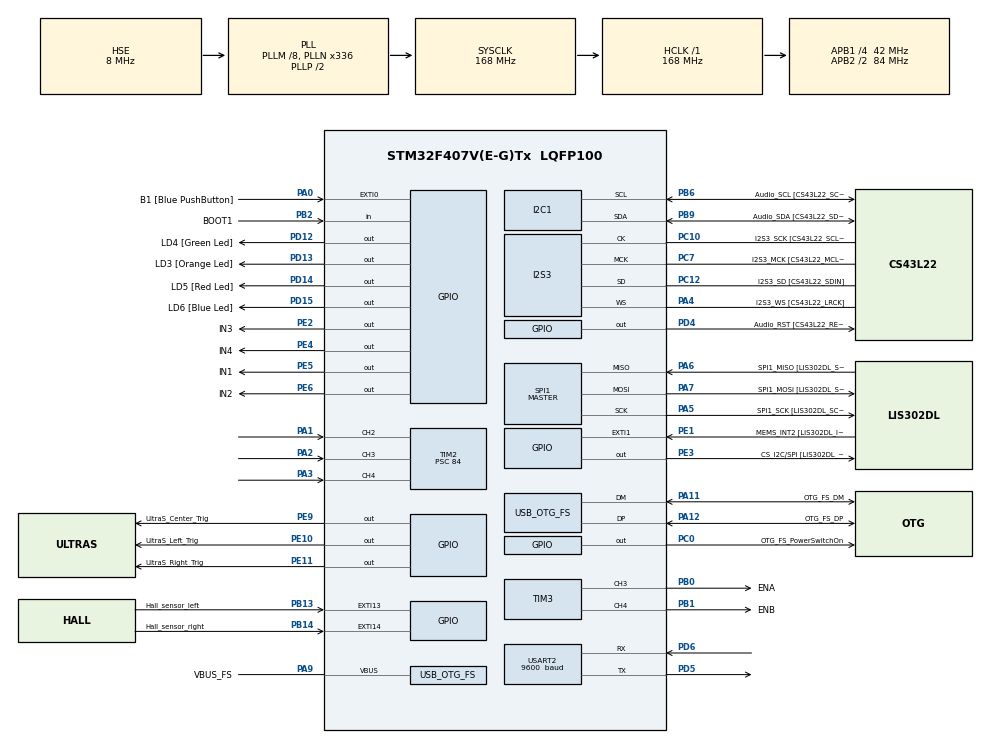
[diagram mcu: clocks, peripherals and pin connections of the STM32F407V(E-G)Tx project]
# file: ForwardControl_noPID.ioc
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I2S3.AudioFreq-Half_Duplex_Master=I2S_AUDIOFREQ_96K
I2S3.ErrorAudioFreq=-2.34 %
I2S3.ErrorAudioFreq-Half_Duplex_Master=0.8 %
I2S3.FullDuplexMode=I2S_FULLDUPLEXMODE_DISABLE
I2S3.Instance=SPI$Index
I2S3.RealAudioFreq=93.75 KHz
I2S3.RealAudioFreq-Half_Duplex_Master=96.774 KHz
I2S3.VirtualMode=I2S_MODE_MASTER
Mcu.Family=STM32F4
Mcu.Name=STM32F407V(E-G)Tx
Mcu.Package=LQFP100
NVIC.OTG_FS_IRQn=true\:0\:0\:false\:false\:true\:true\:true\:true
NVIC.PriorityGroup=NVIC_PRIORITYGROUP_0
NVIC.TIM2_IRQn=true\:0\:0\:false\:false\:true\:true\:true\:true
NVIC.USART2_IRQn=true\:0\:0\:false\:false\:true\:true\:true\:true
PA0-WKUP.GPIO_Label=B1 [Blue PushButton]
PA0-WKUP.GPIO_ModeDefaultEXTI=GPIO_MODE_EVT_RISING
PA0-WKUP.GPIO_PuPd=GPIO_NOPULL
PA0-WKUP.Signal=GPXTI0
PA1.Signal=S_TIM2_CH2
PA10.GPIO_Label=OTG_FS_ID
PA10.GPIO_Mode=GPIO_MODE_AF_PP
PA10.GPIO_PuPd=GPIO_NOPULL
PA10.GPIO_Speed=GPIO_SPEED_FREQ_LOW
PA10.Signal=USB_OTG_FS_ID
PA11.GPIO_Label=OTG_FS_DM
PA11.GPIO_Mode=GPIO_MODE_AF_PP
PA11.GPIO_PuPd=GPIO_NOPULL
PA11.GPIO_Speed=GPIO_SPEED_FREQ_LOW
PA11.Mode=Host_Only
PA11.Signal=USB_OTG_FS_DM
PA12.GPIO_Label=OTG_FS_DP
PA12.GPIO_Mode=GPIO_MODE_AF_PP
PA12.GPIO_PuPd=GPIO_NOPULL
PA12.GPIO_Speed=GPIO_SPEED_FREQ_LOW
PA12.Mode=Host_Only
PA12.Signal=USB_OTG_FS_DP
PA13.GPIO_Label=SWDIO
PA13.Mode=Serial_Wire
PA13.Signal=SYS_JTMS-SWDIO
PA14.GPIO_Label=SWCLK
PA14.Mode=Serial_Wire
PA14.Signal=SYS_JTCK-SWCLK
PA2.Signal=S_TIM2_CH3
PA3.Signal=S_TIM2_CH4
PA4.GPIO_Label=I2S3_WS [CS43L22_LRCK]
PA4.GPIO_Mode=GPIO_MODE_AF_PP
PA4.GPIO_PuPd=GPIO_NOPULL
PA4.GPIO_Speed=GPIO_SPEED_FREQ_LOW
PA4.Mode=Half_Duplex_Master
PA4.Signal=I2S3_WS
PA5.GPIO_Label=SPI1_SCK [LIS302DL_SCL/SPC]
PA5.GPIO_Mode=GPIO_MODE_AF_PP
PA5.GPIO_PuPd=GPIO_NOPULL
PA5.GPIO_Speed=GPIO_SPEED_FREQ_LOW
PA5.Mode=Full_Duplex_Master
PA5.Signal=SPI1_SCK
PA6.GPIO_Label=SPI1_MISO [LIS302DL_SDO]
PA6.GPIO_Mode=GPIO_MODE_AF_PP
PA6.GPIO_PuPd=GPIO_NOPULL
PA6.GPIO_Speed=GPIO_SPEED_FREQ_LOW
PA6.Mode=Full_Duplex_Master
PA6.Signal=SPI1_MISO
PA7.GPIO_Label=SPI1_MOSI [LIS302DL_SDA/SDI/SDO]
PA7.GPIO_Mode=GPIO_MODE_AF_PP
PA7.GPIO_PuPd=GPIO_NOPULL
PA7.GPIO_Speed=GPIO_SPEED_FREQ_LOW
PA7.Mode=Full_Duplex_Master
PA7.Signal=SPI1_MOSI
PA9.GPIO_Label=VBUS_FS
PA9.GPIO_Mode=GPIO_MODE_INPUT
PA9.GPIO_PuPd=GPIO_NOPULL
PA9.Mode=Activate_VBUS
PA9.Signal=USB_OTG_FS_VBUS
PB0.GPIO_Label=ENA
PB0.Signal=S_TIM3_CH3
PB1.GPIO_Label=ENB
PB1.Signal=S_TIM3_CH4
PB10.GPIO_Label=CLK_IN [MP45DT02_CLK]
PB10.GPIO_Mode=GPIO_MODE_AF_PP
PB10.GPIO_PuPd=GPIO_NOPULL
PB10.GPIO_Speed=GPIO_SPEED_FREQ_LOW
PB10.Signal=I2S2_CK
PB13.GPIO_Label=Hall_sensor_left
PB13.GPIO_PuPd=GPIO_PULLUP
PB13.Signal=GPXTI13
PB14.GPIO_Label=Hall_sensor_right
PB14.GPIO_PuPd=GPIO_PULLUP
PB14.Signal=GPXTI14
PB2.GPIO_Label=BOOT1
PB2.GPIO_Mode=GPIO_MODE_INPUT
PB2.GPIO_PuPd=GPIO_NOPULL
PB2.Signal=GPIO_Input
PB3.GPIO_Label=SWO
PB3.Signal=SYS_JTDO-SWO
PB6.GPIO_Label=Audio_SCL [CS43L22_SCL]
PB6.GPIO_Mode=GPIO_MODE_AF_OD
PB6.GPIO_Pu=GPIO_PULLUP
PB6.GPIO_PuPd=GPIO_NOPULL
PB6.GPIO_Speed=GPIO_SPEED_FREQ_LOW
PB6.Mode=I2C
PB6.Signal=I2C1_SCL
PB9.GPIO_Label=Audio_SDA [CS43L22_SDA]
PB9.GPIO_Mode=GPIO_MODE_AF_OD
PB9.GPIO_Pu=GPIO_PULLUP
PB9.GPIO_PuPd=GPIO_NOPULL
PB9.GPIO_Speed=GPIO_SPEED_FREQ_LOW
PB9.Mode=I2C
PB9.Signal=I2C1_SDA
PC0.GPIO_Label=OTG_FS_PowerSwitchOn
PC0.GPIO_PuPd=GPIO_NOPULL
PC0.GPIO_Speed=GPIO_SPEED_FREQ_LOW
PC0.PinState=GPIO_PIN_SET
PC0.Signal=GPIO_Output
PC10.GPIO_Label=I2S3_SCK [CS43L22_SCLK]
PC10.GPIO_Mode=GPIO_MODE_AF_PP
PC10.GPIO_PuPd=GPIO_NOPULL
PC10.GPIO_Speed=GPIO_SPEED_FREQ_LOW
PC10.Mode=Half_Duplex_Master
PC10.Signal=I2S3_CK
PC12.GPIO_Label=I2S3_SD [CS43L22_SDIN]
PC12.GPIO_Mode=GPIO_MODE_AF_PP
PC12.GPIO_PuPd=GPIO_NOPULL
PC12.GPIO_Speed=GPIO_SPEED_FREQ_LOW
PC12.Mode=Half_Duplex_Master
PC12.Signal=I2S3_SD
PC14-OSC32_IN.GPIO_Label=PC14-OSC32_IN
PC14-OSC32_IN.Mode=LSE-External-Oscillator
PC14-OSC32_IN.Signal=RCC_OSC32_IN
PC15-OSC32_OUT.GPIO_Label=PC15-OSC32_OUT
PC15-OSC32_OUT.Mode=LSE-External-Oscillator
PC15-OSC32_OUT.Signal=RCC_OSC32_OUT
PC3.GPIO_Label=PDM_OUT [MP45DT02_DOUT]
PC3.GPIO_Mode=GPIO_MODE_AF_PP
PC3.GPIO_PuPd=GPIO_NOPULL
PC3.GPIO_Speed=GPIO_SPEED_FREQ_LOW
PC3.Signal=I2S2_SD
PC7.GPIO_Label=I2S3_MCK [CS43L22_MCLK]
PC7.GPIO_Mode=GPIO_MODE_AF_PP
PC7.GPIO_PuPd=GPIO_NOPULL
PC7.GPIO_Speed=GPIO_SPEED_FREQ_LOW
PC7.Mode=Master_Clock_Activated
PC7.Signal=I2S3_MCK
PD12.GPIO_Label=LD4 [Green Led]
PD12.GPIO_PuPd=GPIO_NOPULL
PD12.GPIO_Speed=GPIO_SPEED_FREQ_LOW
PD12.Signal=GPIO_Output
PD13.GPIO_Label=LD3 [Orange Led]
PD13.GPIO_PuPd=GPIO_NOPULL
PD13.GPIO_Speed=GPIO_SPEED_FREQ_LOW
PD13.Signal=GPIO_Output
PD14.GPIO_Label=LD5 [Red Led]
PD14.GPIO_PuPd=GPIO_NOPULL
PD14.GPIO_Speed=GPIO_SPEED_FREQ_LOW
PD14.Signal=GPIO_Output
PD15.GPIO_Label=LD6 [Blue Led]
PD15.GPIO_PuPd=GPIO_NOPULL
PD15.GPIO_Speed=GPIO_SPEED_FREQ_LOW
PD15.Signal=GPIO_Output
PD4.GPIO_Label=Audio_RST [CS43L22_RESET]
PD4.GPIO_PuPd=GPIO_NOPULL
PD4.GPIO_Speed=GPIO_SPEED_FREQ_LOW
PD4.Signal=GPIO_Output
PD5.Mode=Asynchronous
PD5.Signal=USART2_TX
PD6.Mode=Asynchronous
PD6.Signal=USART2_RX
PE1.GPIO_Label=MEMS_INT2 [LIS302DL_INT2]
PE1.GPIO_ModeDefaultEXTI=GPIO_MODE_EVT_RISING
PE1.GPIO_PuPd=GPIO_NOPULL
PE1.Signal=GPXTI1
PE10.GPIO_Label=UltraS_Left_Trig
PE10.Signal=GPIO_Output
PE11.GPIO_Label=UltraS_Right_Trig
PE11.Signal=GPIO_Output
PE2.GPIO_Label=IN3
PE2.Signal=GPIO_Output
PE3.GPIO_Label=CS_I2C/SPI [LIS302DL_CS_I2C/SPI]
PE3.GPIO_PuPd=GPIO_NOPULL
PE3.GPIO_Speed=GPIO_SPEED_FREQ_LOW
PE3.Signal=GPIO_Output
PE4.GPIO_Label=IN4
PE4.Signal=GPIO_Output
PE5.GPIO_Label=IN1
PE5.Signal=GPIO_Output
PE6.GPIO_Label=IN2
PE6.Signal=GPIO_Output
PE9.GPIO_Label=UltraS_Center_Trig
PE9.Signal=GPIO_Output
PH0-OSC_IN.GPIO_Label=PH0-OSC_IN
PH0-OSC_IN.Mode=HSE-External-Oscillator
PH0-OSC_IN.Signal=RCC_OSC_IN
PH1-OSC_OUT.GPIO_Label=PH1-OSC_OUT
PH1-OSC_OUT.Mode=HSE-External-Oscillator
PH1-OSC_OUT.Signal=RCC_OSC_OUT
ProjectManager.HeapSize=0x200
ProjectManager.StackSize=0x400
ProjectManager.TargetToolchain=CMake
RCC.48MHZClocksFreq_Value=48000000
RCC.AHBFreq_Value=168000000
RCC.APB1CLKDivider=RCC_HCLK_DIV4
RCC.APB1Freq_Value=42000000
RCC.APB1TimFreq_Value=84000000
RCC.APB2CLKDivider=RCC_HCLK_DIV2
RCC.APB2Freq_Value=84000000
RCC.APB2TimFreq_Value=168000000
RCC.CortexFreq_Value=168000000
RCC.HCLKFreq_Value=168000000
RCC.HSE_VALUE=8000000
RCC.HSI_VALUE=16000000
RCC.PLLM=8
RCC.PLLN=336
RCC.PLLQ=7
RCC.SYSCLKFreq_VALUE=168000000
RCC.SYSCLKSource=RCC_SYSCLKSOURCE_PLLCLK
RCC.VCOOutputFreq_Value=336000000
SH.S_TIM2_CH2.0=TIM2_CH2,Input_Capture2_from_TI2
SH.S_TIM2_CH3.0=TIM2_CH3,Input_Capture3_from_TI3
SH.S_TIM2_CH4.0=TIM2_CH4,Input_Capture4_from_TI4
SH.S_TIM3_CH3.0=TIM3_CH3,PWM Generation3 CH3
SH.S_TIM3_CH4.0=TIM3_CH4,PWM Generation4 CH4
SPI1.BaudRatePrescaler-Full_Duplex_Master=SPI_BAUDRATEPRESCALER_2
SPI1.CalculateBaudRate-Full_Duplex_Master=42.0 MBits/s
SPI1.Direction=SPI_DIRECTION_2LINES
SPI1.Mode=SPI_MODE_MASTER
SPI1.Mode-Full_Duplex_Master=SPI_MODE_MASTER
SPI1.VirtualType=VM_MASTER
TIM2.Channel-Input_Capture2_from_TI2=TIM_CHANNEL_2
TIM2.Channel-Input_Capture3_from_TI3=TIM_CHANNEL_3
TIM2.Channel-Input_Capture4_from_TI4=TIM_CHANNEL_4
TIM2.Prescaler=84
TIM3.Channel-PWM\ Generation3\ CH3=TIM_CHANNEL_3
TIM3.Channel-PWM\ Generation4\ CH4=TIM_CHANNEL_4
USART2.BaudRate=9600 
USART2.VirtualMode=VM_ASYNC
USB_HOST.BSP.number=1
USB_HOST.USBH_HandleTypeDef-CDC_FS=hUsbHostFS
USB_HOST.VirtualModeFS=Cdc
USB_HOST0.BSP.STBoard=false
USB_HOST0.BSP.api=Unknown
USB_HOST0.BSP.instance=PC0
USB_HOST0.BSP.ip=GPIO
USB_HOST0.BSP.mode=Output
USB_HOST0.BSP.name=Drive_VBUS_FS
USB_HOST0.BSP.solution=PC0
USB_OTG_FS.VirtualMode=Host_Only
USB_OTG_FS.phy_itface=HCD_PHY_EMBEDDED
VP_TIM2_VS_ClockSourceINT.Mode=Internal
VP_USB_HOST_VS_USB_HOST_CDC_FS.Mode=CDC_FS
board=STM32F407G-DISC1

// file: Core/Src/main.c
/* USER CODE BEGIN Header */
/**
  ******************************************************************************
  * @file           : main.c
  * @brief          : Main program body
  ******************************************************************************
  * @attention
  *
  * Copyright (c) 2026 STMicroelectronics.
  * All rights reserved.
  *
  * This software is licensed under terms that can be found in the LICENSE file
  * in the root directory of this software component.
  * If no LICENSE file comes with this software, it is provided AS-IS.
  *
  ******************************************************************************
  */
/* USER CODE END Header */
#include "main.h"
#include "usb_host.h"

/* USER CODE BEGIN Includes */
#include <stdio.h>
#include <string.h>
/* USER CODE END Includes */
#include "HCSR04.h"
#include "pwm_motors.h"
#include "../Inc/YS-27.h"

I2C_HandleTypeDef hi2c1;

I2S_HandleTypeDef hi2s3;

SPI_HandleTypeDef hspi1;

TIM_HandleTypeDef htim2;
TIM_HandleTypeDef htim3;

UART_HandleTypeDef huart2;

/* USER CODE BEGIN PV */
uint8_t rxData;
uint8_t stopSignal;
volatile uint8_t uartTxReady = 1;
/* USER CODE END PV */

void SystemClock_Config(void);
static void MX_GPIO_Init(void);
static void MX_I2C1_Init(void);
static void MX_I2S3_Init(void);
static void MX_SPI1_Init(void);
static void MX_TIM3_Init(void);
static void MX_TIM2_Init(void);
static void MX_USART2_UART_Init(void);
void MX_USB_HOST_Process(void);

/* USER CODE BEGIN 0 */

uint8_t rxData;

void HAL_TIM_IC_CaptureCallback(TIM_HandleTypeDef *htim)
{
  HCSR04_ProcessEcho(htim);
}

void HAL_GPIO_EXTI_Callback(uint16_t GPIO_Pin)
{
  Hall_sensor_counter(GPIO_Pin);
}

void HAL_UART_TxCpltCallback(UART_HandleTypeDef *huart)
{
  if (huart->Instance == USART2)
    uartTxReady = 1;
}
/* USER CODE END 0 */

int main(void)
{

  /* MCU Configuration--------------------------------------------------------*/

  /* Reset of all peripherals, Initializes the Flash interface and the Systick. */
  HAL_Init();

  /* Configure the system clock */
  SystemClock_Config();

  /* Initialize all configured peripherals */
  MX_GPIO_Init();
  MX_I2C1_Init();
  MX_I2S3_Init();
  MX_SPI1_Init();
  MX_TIM3_Init();
  MX_USB_HOST_Init();
  MX_TIM2_Init();
  MX_USART2_UART_Init();
  /* USER CODE BEGIN 2 */
  // for ultrasound
  HAL_UART_Receive_IT(&huart2, &rxData, 1);
  HAL_TIM_IC_Start_IT(&htim2, TIM_CHANNEL_2);
  HAL_TIM_IC_Start_IT(&htim2, TIM_CHANNEL_3);
  HAL_TIM_IC_Start_IT(&htim2, TIM_CHANNEL_4);
  DWT_Init();

  Motor_Init(&htim3);
  HAL_UART_Receive_IT(&huart2, &rxData, 1);
  Motor_ChangeDirection(currentMotorDir); // in the beginning, forward
  uint16_t pwmL = PWM_BASE, pwmR = PWM_BASE;
  static uint32_t lastPrint = 0;
  /* USER CODE END 2 */

  /* Infinite loop */
  /* USER CODE BEGIN WHILE */
  while (1)
  {
    Ultrasonic_Update();
    MX_USB_HOST_Process();

    if (!stopSignal)
    {
      if (HAL_GetTick() - lastPrint >= 100 && uartTxReady)
      {
        lastPrint = HAL_GetTick();
        uartTxReady = 0;

        static char buf[80];  // static so it stays valid after the call returns
        snprintf(buf, sizeof(buf), "C:%d L:%d R:%d pL:%d pR:%d\r\n",
                 (int)(HCSR04_GetDistance(CENTER) * 10),
                 (int)(HCSR04_GetDistance(LEFT)   * 10),
                 (int)(HCSR04_GetDistance(RIGHT)  * 10),
                 pwmL, pwmR);
        HAL_UART_Transmit_IT(&huart2, (uint8_t*)buf, strlen(buf));
      }
      HAL_GPIO_WritePin(LD6_GPIO_Port, LD6_Pin, GPIO_PIN_RESET);

    float distCenter = HCSR04_GetDistance(CENTER);
    float distLeft = HCSR04_GetDistance(LEFT);
    float distRight = HCSR04_GetDistance(RIGHT);

    if (distCenter > OBSTACLE_CM)
    {
      /* ── Path clear: drive straight with wall correction ── */
      HAL_GPIO_WritePin(LD4_GPIO_Port, LD4_Pin, GPIO_PIN_SET);

      if (currentMotorDir != FORWARD_DIR)
      {
        Motor_ChangeDirection(FORWARD_DIR);
        currentMotorDir = FORWARD_DIR;
      }

      WallCorrection_Compute(distLeft, distRight, &pwmL, &pwmR);

      Motor_SetSpeed(LEFT_MOTOR,  pwmL);
      Motor_SetSpeed(RIGHT_MOTOR, pwmR);
    }
    else
    {
      /* ── Obstacle ahead: turn left (or swap to RIGHT_DIR) ── */
      HAL_GPIO_WritePin(LD4_GPIO_Port, LD4_Pin, GPIO_PIN_RESET);

      if (currentMotorDir != LEFT_DIR)
      {
        Motor_ChangeDirection(LEFT_DIR);
        currentMotorDir = LEFT_DIR;
      }

      Motor_SetSpeed(LEFT_MOTOR,  PWM_BASE);
      Motor_SetSpeed(RIGHT_MOTOR, PWM_BASE);
    }
    }
    else
    {
      /* stopSignal active — halt */
      Motor_SetSpeed(BOTH_MOTORS, 0);
      HAL_GPIO_WritePin(LD6_GPIO_Port, LD6_Pin, GPIO_PIN_SET);
    }

    /* USER CODE END WHILE */

  }
}

void SystemClock_Config(void)
{
  RCC_OscInitTypeDef RCC_OscInitStruct = {0};
  RCC_ClkInitTypeDef RCC_ClkInitStruct = {0};

  /** Configure the main internal regulator output voltage
  */
  __HAL_RCC_PWR_CLK_ENABLE();
  __HAL_PWR_VOLTAGESCALING_CONFIG(PWR_REGULATOR_VOLTAGE_SCALE1);

  /** Initializes the RCC Oscillators according to the specified parameters
  * in the RCC_OscInitTypeDef structure.
  */
  RCC_OscInitStruct.OscillatorType = RCC_OSCILLATORTYPE_HSE;
  RCC_OscInitStruct.HSEState = RCC_HSE_ON;
  RCC_OscInitStruct.PLL.PLLState = RCC_PLL_ON;
  RCC_OscInitStruct.PLL.PLLSource = RCC_PLLSOURCE_HSE;
  RCC_OscInitStruct.PLL.PLLM = 8;
  RCC_OscInitStruct.PLL.PLLN = 336;
  RCC_OscInitStruct.PLL.PLLP = RCC_PLLP_DIV2;
  RCC_OscInitStruct.PLL.PLLQ = 7;
  if (HAL_RCC_OscConfig(&RCC_OscInitStruct) != HAL_OK)
  {
    Error_Handler();
  }

  /** Initializes the CPU, AHB and APB buses clocks
  */
  RCC_ClkInitStruct.ClockType = RCC_CLOCKTYPE_HCLK|RCC_CLOCKTYPE_SYSCLK
                              |RCC_CLOCKTYPE_PCLK1|RCC_CLOCKTYPE_PCLK2;
  RCC_ClkInitStruct.SYSCLKSource = RCC_SYSCLKSOURCE_PLLCLK;
  RCC_ClkInitStruct.AHBCLKDivider = RCC_SYSCLK_DIV1;
  RCC_ClkInitStruct.APB1CLKDivider = RCC_HCLK_DIV4;
  RCC_ClkInitStruct.APB2CLKDivider = RCC_HCLK_DIV2;

  if (HAL_RCC_ClockConfig(&RCC_ClkInitStruct, FLASH_LATENCY_5) != HAL_OK)
  {
    Error_Handler();
  }
}

static void MX_I2C1_Init(void)
{

  hi2c1.Instance = I2C1;
  hi2c1.Init.ClockSpeed = 100000;
  hi2c1.Init.DutyCycle = I2C_DUTYCYCLE_2;
  hi2c1.Init.OwnAddress1 = 0;
  hi2c1.Init.AddressingMode = I2C_ADDRESSINGMODE_7BIT;
  hi2c1.Init.DualAddressMode = I2C_DUALADDRESS_DISABLE;
  hi2c1.Init.OwnAddress2 = 0;
  hi2c1.Init.GeneralCallMode = I2C_GENERALCALL_DISABLE;
  hi2c1.Init.NoStretchMode = I2C_NOSTRETCH_DISABLE;
  if (HAL_I2C_Init(&hi2c1) != HAL_OK)
  {
    Error_Handler();
  }

}

static void MX_I2S3_Init(void)
{

  hi2s3.Instance = SPI3;
  hi2s3.Init.Mode = I2S_MODE_MASTER_TX;
  hi2s3.Init.Standard = I2S_STANDARD_PHILIPS;
  hi2s3.Init.DataFormat = I2S_DATAFORMAT_16B;
  hi2s3.Init.MCLKOutput = I2S_MCLKOUTPUT_ENABLE;
  hi2s3.Init.AudioFreq = I2S_AUDIOFREQ_96K;
  hi2s3.Init.CPOL = I2S_CPOL_LOW;
  hi2s3.Init.ClockSource = I2S_CLOCK_PLL;
  hi2s3.Init.FullDuplexMode = I2S_FULLDUPLEXMODE_DISABLE;
  if (HAL_I2S_Init(&hi2s3) != HAL_OK)
  {
    Error_Handler();
  }

}

static void MX_SPI1_Init(void)
{

  /* SPI1 parameter configuration*/
  hspi1.Instance = SPI1;
  hspi1.Init.Mode = SPI_MODE_MASTER;
  hspi1.Init.Direction = SPI_DIRECTION_2LINES;
  hspi1.Init.DataSize = SPI_DATASIZE_8BIT;
  hspi1.Init.CLKPolarity = SPI_POLARITY_LOW;
  hspi1.Init.CLKPhase = SPI_PHASE_1EDGE;
  hspi1.Init.NSS = SPI_NSS_SOFT;
  hspi1.Init.BaudRatePrescaler = SPI_BAUDRATEPRESCALER_2;
  hspi1.Init.FirstBit = SPI_FIRSTBIT_MSB;
  hspi1.Init.TIMode = SPI_TIMODE_DISABLE;
  hspi1.Init.CRCCalculation = SPI_CRCCALCULATION_DISABLE;
  hspi1.Init.CRCPolynomial = 10;
  if (HAL_SPI_Init(&hspi1) != HAL_OK)
  {
    Error_Handler();
  }

}

static void MX_TIM2_Init(void)
{

  TIM_ClockConfigTypeDef sClockSourceConfig = {0};
  TIM_MasterConfigTypeDef sMasterConfig = {0};
  TIM_IC_InitTypeDef sConfigIC = {0};

  htim2.Instance = TIM2;
  htim2.Init.Prescaler = 84;
  htim2.Init.CounterMode = TIM_COUNTERMODE_UP;
  htim2.Init.Period = 4294967295;
  htim2.Init.ClockDivision = TIM_CLOCKDIVISION_DIV1;
  htim2.Init.AutoReloadPreload = TIM_AUTORELOAD_PRELOAD_DISABLE;
  if (HAL_TIM_Base_Init(&htim2) != HAL_OK)
  {
    Error_Handler();
  }
  sClockSourceConfig.ClockSource = TIM_CLOCKSOURCE_INTERNAL;
  if (HAL_TIM_ConfigClockSource(&htim2, &sClockSourceConfig) != HAL_OK)
  {
    Error_Handler();
  }
  if (HAL_TIM_IC_Init(&htim2) != HAL_OK)
  {
    Error_Handler();
  }
  sMasterConfig.MasterOutputTrigger = TIM_TRGO_RESET;
  sMasterConfig.MasterSlaveMode = TIM_MASTERSLAVEMODE_DISABLE;
  if (HAL_TIMEx_MasterConfigSynchronization(&htim2, &sMasterConfig) != HAL_OK)
  {
    Error_Handler();
  }
  sConfigIC.ICPolarity = TIM_INPUTCHANNELPOLARITY_RISING;
  sConfigIC.ICSelection = TIM_ICSELECTION_DIRECTTI;
  sConfigIC.ICPrescaler = TIM_ICPSC_DIV1;
  sConfigIC.ICFilter = 0;
  if (HAL_TIM_IC_ConfigChannel(&htim2, &sConfigIC, TIM_CHANNEL_2) != HAL_OK)
  {
    Error_Handler();
  }
  if (HAL_TIM_IC_ConfigChannel(&htim2, &sConfigIC, TIM_CHANNEL_3) != HAL_OK)
  {
    Error_Handler();
  }
  if (HAL_TIM_IC_ConfigChannel(&htim2, &sConfigIC, TIM_CHANNEL_4) != HAL_OK)
  {
    Error_Handler();
  }

}

static void MX_TIM3_Init(void)
{

  TIM_MasterConfigTypeDef sMasterConfig = {0};
  TIM_OC_InitTypeDef sConfigOC = {0};

  htim3.Instance = TIM3;
  htim3.Init.Prescaler = 83;
  htim3.Init.CounterMode = TIM_COUNTERMODE_UP;
  htim3.Init.Period = 499;
  htim3.Init.ClockDivision = TIM_CLOCKDIVISION_DIV1;
  htim3.Init.AutoReloadPreload = TIM_AUTORELOAD_PRELOAD_DISABLE;
  if (HAL_TIM_PWM_Init(&htim3) != HAL_OK)
  {
    Error_Handler();
  }
  sMasterConfig.MasterOutputTrigger = TIM_TRGO_RESET;
  sMasterConfig.MasterSlaveMode = TIM_MASTERSLAVEMODE_DISABLE;
  if (HAL_TIMEx_MasterConfigSynchronization(&htim3, &sMasterConfig) != HAL_OK)
  {
    Error_Handler();
  }
  sConfigOC.OCMode = TIM_OCMODE_PWM1;
  sConfigOC.Pulse = 0;
  sConfigOC.OCPolarity = TIM_OCPOLARITY_HIGH;
  sConfigOC.OCFastMode = TIM_OCFAST_DISABLE;
  if (HAL_TIM_PWM_ConfigChannel(&htim3, &sConfigOC, TIM_CHANNEL_3) != HAL_OK)
  {
    Error_Handler();
  }
  if (HAL_TIM_PWM_ConfigChannel(&htim3, &sConfigOC, TIM_CHANNEL_4) != HAL_OK)
  {
    Error_Handler();
  }
  HAL_TIM_MspPostInit(&htim3);

}

static void MX_USART2_UART_Init(void)
{

  huart2.Instance = USART2;
  huart2.Init.BaudRate = 9600;
  huart2.Init.WordLength = UART_WORDLENGTH_8B;
  huart2.Init.StopBits = UART_STOPBITS_1;
  huart2.Init.Parity = UART_PARITY_NONE;
  huart2.Init.Mode = UART_MODE_TX_RX;
  huart2.Init.HwFlowCtl = UART_HWCONTROL_NONE;
  huart2.Init.OverSampling = UART_OVERSAMPLING_16;
  if (HAL_UART_Init(&huart2) != HAL_OK)
  {
    Error_Handler();
  }

}

static void MX_GPIO_Init(void)
{
  GPIO_InitTypeDef GPIO_InitStruct = {0};

  /* GPIO Ports Clock Enable */
  __HAL_RCC_GPIOE_CLK_ENABLE();
  __HAL_RCC_GPIOC_CLK_ENABLE();
  __HAL_RCC_GPIOH_CLK_ENABLE();
  __HAL_RCC_GPIOA_CLK_ENABLE();
  __HAL_RCC_GPIOB_CLK_ENABLE();
  __HAL_RCC_GPIOD_CLK_ENABLE();

  /*Configure GPIO pin Output Level */
  HAL_GPIO_WritePin(GPIOE, IN3_Pin|CS_I2C_SPI_Pin|IN4_Pin|IN1_Pin
                          |IN2_Pin|UltraS_Center_Trig_Pin|UltraS_Left_Trig_Pin|UltraS_Right_Trig_Pin, GPIO_PIN_RESET);

  /*Configure GPIO pin Output Level */
  HAL_GPIO_WritePin(OTG_FS_PowerSwitchOn_GPIO_Port, OTG_FS_PowerSwitchOn_Pin, GPIO_PIN_SET);

  /*Configure GPIO pin Output Level */
  HAL_GPIO_WritePin(GPIOD, LD4_Pin|LD3_Pin|LD5_Pin|LD6_Pin
                          |Audio_RST_Pin, GPIO_PIN_RESET);

  /*Configure GPIO pins : IN3_Pin CS_I2C_SPI_Pin IN4_Pin IN1_Pin
                           IN2_Pin UltraS_Center_Trig_Pin UltraS_Left_Trig_Pin UltraS_Right_Trig_Pin */
  GPIO_InitStruct.Pin = IN3_Pin|CS_I2C_SPI_Pin|IN4_Pin|IN1_Pin
                          |IN2_Pin|UltraS_Center_Trig_Pin|UltraS_Left_Trig_Pin|UltraS_Right_Trig_Pin;
  GPIO_InitStruct.Mode = GPIO_MODE_OUTPUT_PP;
  GPIO_InitStruct.Pull = GPIO_NOPULL;
  GPIO_InitStruct.Speed = GPIO_SPEED_FREQ_LOW;
  HAL_GPIO_Init(GPIOE, &GPIO_InitStruct);

  /*Configure GPIO pin : OTG_FS_PowerSwitchOn_Pin */
  GPIO_InitStruct.Pin = OTG_FS_PowerSwitchOn_Pin;
  GPIO_InitStruct.Mode = GPIO_MODE_OUTPUT_PP;
  GPIO_InitStruct.Pull = GPIO_NOPULL;
  GPIO_InitStruct.Speed = GPIO_SPEED_FREQ_LOW;
  HAL_GPIO_Init(OTG_FS_PowerSwitchOn_GPIO_Port, &GPIO_InitStruct);

  /*Configure GPIO pin : PDM_OUT_Pin */
  GPIO_InitStruct.Pin = PDM_OUT_Pin;
  GPIO_InitStruct.Mode = GPIO_MODE_AF_PP;
  GPIO_InitStruct.Pull = GPIO_NOPULL;
  GPIO_InitStruct.Speed = GPIO_SPEED_FREQ_LOW;
  GPIO_InitStruct.Alternate = GPIO_AF5_SPI2;
  HAL_GPIO_Init(PDM_OUT_GPIO_Port, &GPIO_InitStruct);

  /*Configure GPIO pin : B1_Pin */
  GPIO_InitStruct.Pin = B1_Pin;
  GPIO_InitStruct.Mode = GPIO_MODE_EVT_RISING;
  GPIO_InitStruct.Pull = GPIO_NOPULL;
  HAL_GPIO_Init(B1_GPIO_Port, &GPIO_InitStruct);

  /*Configure GPIO pin : BOOT1_Pin */
  GPIO_InitStruct.Pin = BOOT1_Pin;
  GPIO_InitStruct.Mode = GPIO_MODE_INPUT;
  GPIO_InitStruct.Pull = GPIO_NOPULL;
  HAL_GPIO_Init(BOOT1_GPIO_Port, &GPIO_InitStruct);

  /*Configure GPIO pin : CLK_IN_Pin */
  GPIO_InitStruct.Pin = CLK_IN_Pin;
  GPIO_InitStruct.Mode = GPIO_MODE_AF_PP;
  GPIO_InitStruct.Pull = GPIO_NOPULL;
  GPIO_InitStruct.Speed = GPIO_SPEED_FREQ_LOW;
  GPIO_InitStruct.Alternate = GPIO_AF5_SPI2;
  HAL_GPIO_Init(CLK_IN_GPIO_Port, &GPIO_InitStruct);

  /*Configure GPIO pins : Hall_sensor_left_Pin Hall_sensor_right_Pin */
  GPIO_InitStruct.Pin = Hall_sensor_left_Pin|Hall_sensor_right_Pin;
  GPIO_InitStruct.Mode = GPIO_MODE_IT_RISING;
  GPIO_InitStruct.Pull = GPIO_PULLUP;
  HAL_GPIO_Init(GPIOB, &GPIO_InitStruct);

  /*Configure GPIO pins : LD4_Pin LD3_Pin LD5_Pin LD6_Pin
                           Audio_RST_Pin */
  GPIO_InitStruct.Pin = LD4_Pin|LD3_Pin|LD5_Pin|LD6_Pin
                          |Audio_RST_Pin;
  GPIO_InitStruct.Mode = GPIO_MODE_OUTPUT_PP;
  GPIO_InitStruct.Pull = GPIO_NOPULL;
  GPIO_InitStruct.Speed = GPIO_SPEED_FREQ_LOW;
  HAL_GPIO_Init(GPIOD, &GPIO_InitStruct);

  /*Configure GPIO pin : MEMS_INT2_Pin */
  GPIO_InitStruct.Pin = MEMS_INT2_Pin;
  GPIO_InitStruct.Mode = GPIO_MODE_EVT_RISING;
  GPIO_InitStruct.Pull = GPIO_NOPULL;
  HAL_GPIO_Init(MEMS_INT2_GPIO_Port, &GPIO_InitStruct);

  /* EXTI interrupt init*/
  HAL_NVIC_SetPriority(EXTI15_10_IRQn, 0, 0);
  HAL_NVIC_EnableIRQ(EXTI15_10_IRQn);

}

/* USER CODE BEGIN 4 */
void HAL_UART_RxCpltCallback(UART_HandleTypeDef *huart)
{
  if(huart->Instance==USART2)
  {
    if(rxData=='N' || rxData=='n')
    {
      stopSignal = 1;
      HAL_GPIO_WritePin(LD6_GPIO_Port, LD6_Pin, GPIO_PIN_RESET);
    }
    else if (rxData=='Y' || rxData=='y')
    {
      stopSignal = 0;
      HAL_GPIO_WritePin(LD6_GPIO_Port, LD6_Pin, GPIO_PIN_SET);
    }
    HAL_UART_Receive_IT(&huart2,&rxData,1); // Enabling interrupt receive again
  }
}

/* USER CODE END 4 */

void Error_Handler(void)
{
  __disable_irq();
  while (1)
  {
  }
}
